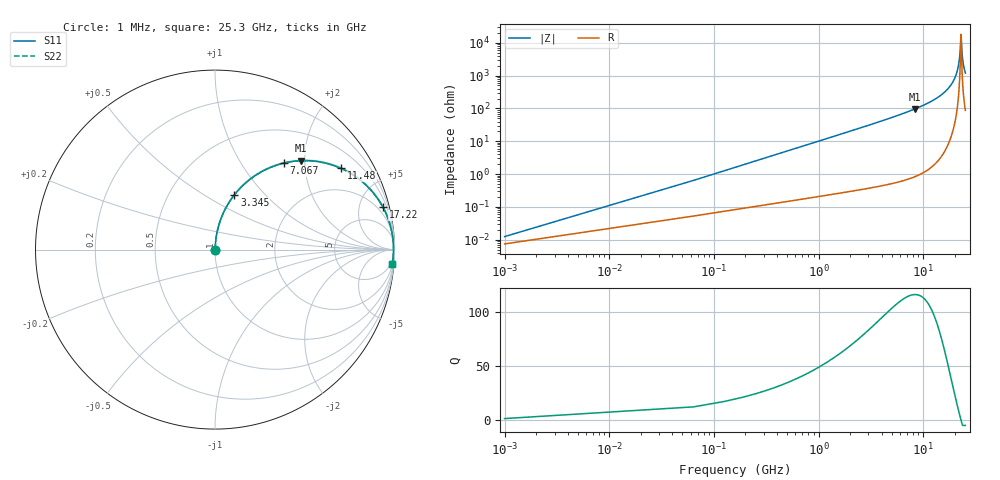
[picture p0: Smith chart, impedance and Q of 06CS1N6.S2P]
! Coilcraft 0603CS-1N6 Chip Inductor
! 21 May 2002
# MHZ S MA R 50
!Freq  MagS11  AngS11  MagS21  AngS21  MagS12  AngS12  MagS22  AngS22
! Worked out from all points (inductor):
!   402 points, 1 MHz to 25.3 GHz, reference 50 ohm
!   read as one part in series: L = 1.6 nH near 127.2 MHz
!   highest Q = 116 at 8.266 GHz (marker M1), where L = 1.84 nH
!   self-resonance near 22.97 GHz
!   S11 on the Smith chart (normalised r, x): 1 MHz: 1.00, +0.00; 3.345 GHz: 1.01, +0.69; 7.067 GHz: 1.01, +1.57; 11.48 GHz: 1.03, +3.08; 17.22 GHz: 1.15, +7.91; 25.3 GHz: 3, -24
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1  0.0001254 53.3  0.9999 -0.0  0.9999 -0.0  0.0001254 53.3
190.27  0.01913 86.2  0.9989 -1.1  0.9989 -1.1  0.01913 86.2
316.45  0.03179 86.1  0.9983 -1.8  0.9983 -1.8  0.03179 86.1
568.81  0.05706 85.2  0.9968 -3.3  0.9968 -3.3  0.05706 85.2
1010.44  0.1011 83.0  0.9928 -5.8  0.9928 -5.8  0.1011 83.0
1578.25  0.157 80.0  0.985 -9.0  0.985 -9.0  0.157 80.0
3344.77  0.3238 70.5  0.9424 -18.9  0.9424 -18.9  0.3238 70.5
4228.03  0.4012 65.8  0.9118 -23.7  0.9118 -23.7  0.4012 65.8
7067.08  0.6147 51.6  0.7834 -37.9  0.7834 -37.9  0.6147 51.6
8265.79  0.6875 46.1  0.7202 -43.4  0.7202 -43.4  0.6875 46.1
8455.06  0.6981 45.2  0.71 -44.3  0.71 -44.3  0.6981 45.2
11483.38  0.8349 32.9  0.5425 -56.6  0.5425 -56.6  0.8349 32.9
12682.09  0.8742 28.5  0.4767 -60.9  0.4767 -60.9  0.8742 28.5
16909.12  0.9611 15.0  0.2591 -73.9  0.2591 -73.9  0.9611 15.0
17224.57  0.965 14.1  0.244 -74.8  0.244 -74.8  0.965 14.1
19558.9  0.9855 7.9  0.138 -80.0  0.138 -80.0  0.9855 7.9
21136.15  0.9922 4.1  0.07186 -81.7  0.07186 -81.7  0.9922 4.1
22208.68  0.9942 1.7  0.02962 -77.8  0.02962 -77.8  0.9942 1.7
22965.76  0.9944 0.0  0.005571 -2.7  0.005571 -2.7  0.9944 0.0
23470.48  0.9942 -1.1  0.01931 71.9  0.01931 71.9  0.9942 -1.1
23849.02  0.9937 -1.8  0.03273 78.0  0.03273 78.0  0.9937 -1.8
25300  0.9905 -4.8  0.08311 81.0  0.08311 81.0  0.9905 -4.8
